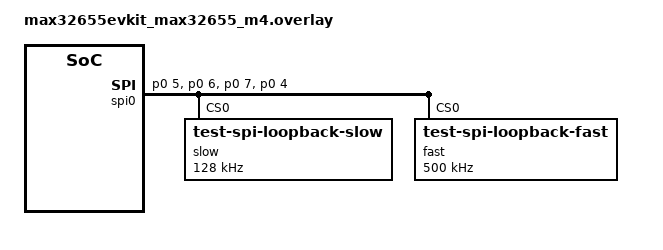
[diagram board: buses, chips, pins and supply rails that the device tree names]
/*
 * Copyright (c) 2023-2024 Analog Devices, Inc.
 *
 * SPDX-License-Identifier: Apache-2.0
 */

&spi0 {
	status = "okay";
	pinctrl-0 = <&spi0_mosi_p0_5 &spi0_miso_p0_6 &spi0_sck_p0_7 &spi0_ss0_p0_4>;
	pinctrl-names = "default";

	slow@0 {
		compatible = "test-spi-loopback-slow";
		reg = <0>;
		spi-max-frequency = <128000>;
	};
	fast@0 {
		compatible = "test-spi-loopback-fast";
		reg = <0>;
		spi-max-frequency = <500000>;
	};
};
